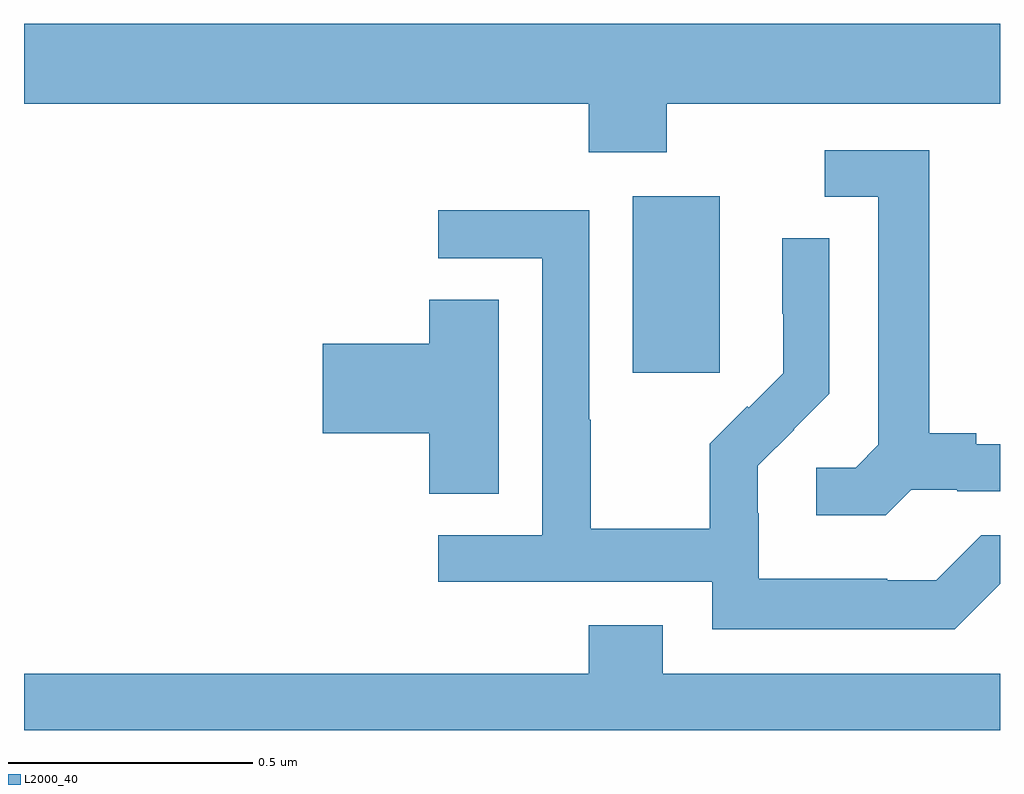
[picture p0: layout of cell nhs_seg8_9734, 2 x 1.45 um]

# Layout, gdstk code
import gdstk
lib = gdstk.Library(unit=1e-6, precision=1e-09)
def R(c, l, rs):  # rectangles x0, y0, x1, y1
    for r in rs: c.add(gdstk.rectangle(r[:2], r[2:], *l))
def P(c, l, *ps):  # polygons
    for p in ps: c.add(gdstk.Polygon(p, *l))
L2000_40 = (2000, 40)

nhs_seg8_9734 = lib.new_cell('nhs_seg8_9734')
R(nhs_seg8_9734, L2000_40, [(241.247,1098.633,241.426,1098.994)])
P(nhs_seg8_9734, L2000_40, [(241.317,1099.184),(242,1099.184),(242,1099.348),(240,1099.348),(240,1099.184),(241.157,1099.184),(241.157,1099.085),(241.317,1099.085)],
  [(241.818,1098.393),(241.912,1098.393),(241.912,1098.39),(242,1098.39),(242,1098.486),(241.951,1098.486),(241.951,1098.509),(241.855,1098.509),(241.855,1099.089),(241.641,1099.089),(241.641,1098.993),(241.751,1098.993),(241.751,1098.485),(241.704,1098.438),(241.623,1098.438),(241.623,1098.341),(241.766,1098.341)],
  [(242,1098.2),(242,1098.3),(241.962,1098.3),(241.869,1098.207),(241.769,1098.207),(241.769,1098.211),(241.506,1098.211),(241.506,1098.345),(241.504,1098.345),(241.504,1098.442),(241.578,1098.516),(241.577,1098.517),(241.65,1098.59),(241.65,1098.908),(241.554,1098.908),(241.554,1098.754),(241.556,1098.754),(241.556,1098.632),(241.485,1098.561),(241.482,1098.564),(241.405,1098.487),(241.405,1098.313),(241.161,1098.313),(241.161,1098.536),(241.158,1098.536),(241.158,1098.966),(240.849,1098.966),(240.849,1098.867),(241.062,1098.867),(241.062,1098.3),(240.849,1098.3),(240.849,1098.204),(241.41,1098.204),(241.41,1098.107),(241.907,1098.107)],
  [(240.973,1098.782),(240.83,1098.782),(240.83,1098.692),(240.612,1098.692),(240.612,1098.509),(240.83,1098.509),(240.83,1098.385),(240.973,1098.385)],
  [(242,1098.016),(241.309,1098.016),(241.309,1098.115),(241.157,1098.115),(241.157,1098.016),(240,1098.016),(240,1097.9),(242,1097.9)])

lib.write_gds('nhs_seg8_9734.gds')
